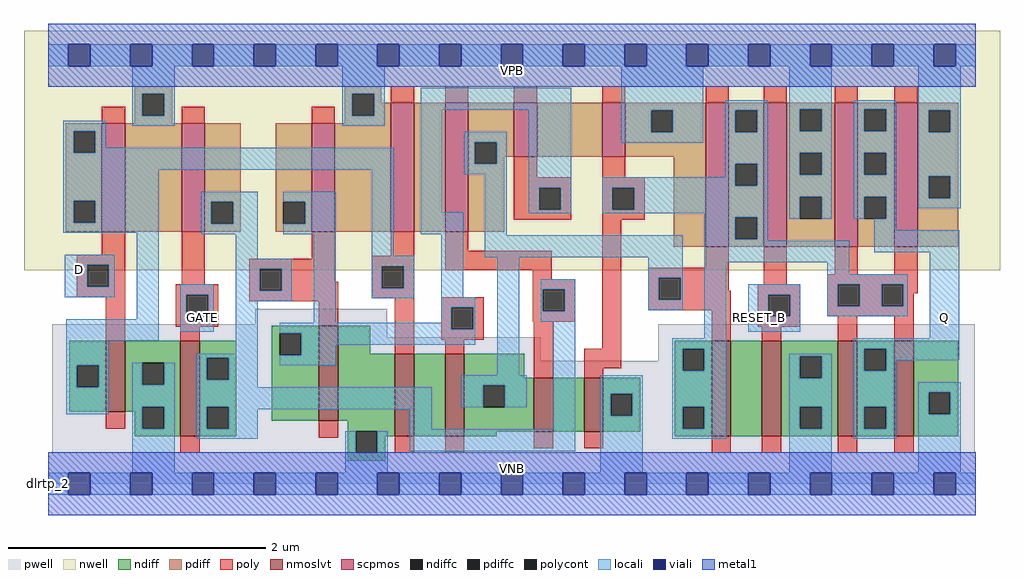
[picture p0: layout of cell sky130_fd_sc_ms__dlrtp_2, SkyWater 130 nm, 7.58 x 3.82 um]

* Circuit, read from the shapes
.subckt sky130_fd_sc_ms__dlrtp_2 D GATE RESET_B VGND VNB VPB VPWR Q
XM1 VGND D n1 VNB sky130_fd_pr__nfet_01v8_lvt w=0.55 l=0.15
XM2 n2 GATE VGND VNB sky130_fd_pr__nfet_01v8_lvt w=0.74 l=0.15
XM3 VGND n2 n3 VNB sky130_fd_pr__nfet_01v8_lvt w=0.74 l=0.15
XM4 n4 n1 VGND VNB sky130_fd_pr__nfet_01v8_lvt w=0.64 l=0.15
XM5 n5 n3 n4 VNB sky130_fd_pr__nfet_01v8_lvt w=0.64 l=0.15
XM6 n6 n2 n5 VNB sky130_fd_pr__nfet_01v8_lvt w=0.42 l=0.15
XM7 VGND n7 n6 VNB sky130_fd_pr__nfet_01v8_lvt w=0.42 l=0.15
XM8 n8 n5 n7 VNB sky130_fd_pr__nfet_01v8_lvt w=0.74 l=0.15
XM9 VGND RESET_B n8 VNB sky130_fd_pr__nfet_01v8_lvt w=0.74 l=0.15
XM10 Q n7 VGND VNB sky130_fd_pr__nfet_01v8_lvt w=0.74 l=0.15 m=2
XM11 VPWR D n1 VPB sky130_fd_pr__pfet_01v8 w=0.84 l=0.18
XM12 n2 GATE VPWR VPB sky130_fd_pr__pfet_01v8 w=0.84 l=0.18
XM13 VPWR n2 n3 VPB sky130_fd_pr__pfet_01v8 w=0.84 l=0.18
XM14 n9 n1 VPWR VPB sky130_fd_pr__pfet_01v8 w=1 l=0.18
XM15 n5 n2 n9 VPB sky130_fd_pr__pfet_01v8 w=1 l=0.18
XM16 n10 n3 n5 VPB sky130_fd_pr__pfet_01v8 w=0.42 l=0.18
XM17 VPWR n7 n10 VPB sky130_fd_pr__pfet_01v8 w=0.42 l=0.18
XM18 n7 n5 VPWR VPB sky130_fd_pr__pfet_01v8 w=1.12 l=0.18
XM19 VPWR RESET_B n7 VPB sky130_fd_pr__pfet_01v8 w=1.12 l=0.18
XM20 Q n7 VPWR VPB sky130_fd_pr__pfet_01v8 w=1.12 l=0.18 m=2
.ends

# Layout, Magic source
magic
tech sky130A
magscale 1 2
<< nwell >>
rect -38 332 1478 704
<< pwell >>
rect 321 248 526 272
rect 6 228 526 248
rect 6 191 765 228
rect 947 191 1439 248
rect 6 49 1439 191
rect 0 0 1440 49
<< scpmos >>
rect 83 392 119 560
rect 207 392 243 560
rect 409 392 445 560
rect 532 392 568 592
rect 616 392 652 592
rect 723 508 759 592
rect 860 508 896 592
rect 1021 368 1057 592
rect 1111 368 1147 592
rect 1221 368 1257 592
rect 1314 368 1350 592
<< nmoslvt >>
rect 89 112 119 222
rect 205 74 235 222
rect 420 98 450 246
rect 538 74 568 202
rect 616 74 646 202
rect 754 81 784 165
rect 832 81 862 165
rect 1030 74 1060 222
rect 1108 74 1138 222
rect 1226 74 1256 222
rect 1314 74 1344 222
<< ndiff >>
rect 347 234 420 246
rect 32 184 89 222
rect 32 150 44 184
rect 78 150 89 184
rect 32 112 89 150
rect 119 188 205 222
rect 119 154 146 188
rect 180 154 205 188
rect 119 120 205 154
rect 119 112 146 120
rect 134 86 146 112
rect 180 86 205 120
rect 134 74 205 86
rect 235 196 292 222
rect 235 162 246 196
rect 280 162 292 196
rect 235 120 292 162
rect 235 86 246 120
rect 280 86 292 120
rect 347 200 359 234
rect 393 200 420 234
rect 347 98 420 200
rect 450 202 500 246
rect 450 98 538 202
rect 235 74 292 86
rect 465 82 538 98
rect 465 48 477 82
rect 511 74 538 82
rect 568 74 616 202
rect 646 165 739 202
rect 973 210 1030 222
rect 973 176 985 210
rect 1019 176 1030 210
rect 646 153 754 165
rect 646 119 675 153
rect 709 119 754 153
rect 646 81 754 119
rect 784 81 832 165
rect 862 140 919 165
rect 862 106 873 140
rect 907 106 919 140
rect 862 81 919 106
rect 973 120 1030 176
rect 973 86 985 120
rect 1019 86 1030 120
rect 646 74 696 81
rect 511 48 523 74
rect 973 74 1030 86
rect 1060 74 1108 222
rect 1138 198 1226 222
rect 1138 164 1167 198
rect 1201 164 1226 198
rect 1138 120 1226 164
rect 1138 86 1167 120
rect 1201 86 1226 120
rect 1138 74 1226 86
rect 1256 210 1314 222
rect 1256 176 1267 210
rect 1301 176 1314 210
rect 1256 120 1314 176
rect 1256 86 1267 120
rect 1301 86 1314 120
rect 1256 74 1314 86
rect 1344 142 1413 222
rect 1344 108 1367 142
rect 1401 108 1413 142
rect 1344 74 1413 108
rect 465 36 523 48
<< pdiff >>
rect 134 606 192 618
rect 134 572 146 606
rect 180 572 192 606
rect 460 606 517 618
rect 134 560 192 572
rect 460 572 472 606
rect 506 592 517 606
rect 506 572 532 592
rect 460 560 532 572
rect 27 548 83 560
rect 27 514 39 548
rect 73 514 83 548
rect 27 440 83 514
rect 27 406 39 440
rect 73 406 83 440
rect 27 392 83 406
rect 119 392 207 560
rect 243 438 299 560
rect 243 404 253 438
rect 287 404 299 438
rect 243 392 299 404
rect 353 438 409 560
rect 353 404 365 438
rect 399 404 409 438
rect 353 392 409 404
rect 445 392 532 560
rect 568 392 616 592
rect 652 531 723 592
rect 652 497 662 531
rect 696 508 723 531
rect 759 508 860 592
rect 896 580 1021 592
rect 896 546 936 580
rect 970 546 1021 580
rect 896 508 1021 546
rect 696 497 708 508
rect 652 392 708 497
rect 971 368 1021 508
rect 1057 580 1111 592
rect 1057 546 1067 580
rect 1101 546 1111 580
rect 1057 497 1111 546
rect 1057 463 1067 497
rect 1101 463 1111 497
rect 1057 414 1111 463
rect 1057 380 1067 414
rect 1101 380 1111 414
rect 1057 368 1111 380
rect 1147 582 1221 592
rect 1147 548 1167 582
rect 1201 548 1221 582
rect 1147 514 1221 548
rect 1147 480 1167 514
rect 1201 480 1221 514
rect 1147 446 1221 480
rect 1147 412 1167 446
rect 1201 412 1221 446
rect 1147 368 1221 412
rect 1257 582 1314 592
rect 1257 548 1267 582
rect 1301 548 1314 582
rect 1257 514 1314 548
rect 1257 480 1267 514
rect 1301 480 1314 514
rect 1257 446 1314 480
rect 1257 412 1267 446
rect 1301 412 1314 446
rect 1257 368 1314 412
rect 1350 580 1413 592
rect 1350 546 1367 580
rect 1401 546 1413 580
rect 1350 478 1413 546
rect 1350 444 1367 478
rect 1401 444 1413 478
rect 1350 368 1413 444
<< ndiffc >>
rect 44 150 78 184
rect 146 154 180 188
rect 146 86 180 120
rect 246 162 280 196
rect 246 86 280 120
rect 359 200 393 234
rect 477 48 511 82
rect 985 176 1019 210
rect 675 119 709 153
rect 873 106 907 140
rect 985 86 1019 120
rect 1167 164 1201 198
rect 1167 86 1201 120
rect 1267 176 1301 210
rect 1267 86 1301 120
rect 1367 108 1401 142
<< pdiffc >>
rect 146 572 180 606
rect 472 572 506 606
rect 39 514 73 548
rect 39 406 73 440
rect 253 404 287 438
rect 365 404 399 438
rect 662 497 696 531
rect 936 546 970 580
rect 1067 546 1101 580
rect 1067 463 1101 497
rect 1067 380 1101 414
rect 1167 548 1201 582
rect 1167 480 1201 514
rect 1167 412 1201 446
rect 1267 548 1301 582
rect 1267 480 1301 514
rect 1267 412 1301 446
rect 1367 546 1401 580
rect 1367 444 1401 478
<< poly >>
rect 83 560 119 586
rect 207 560 243 586
rect 409 560 445 586
rect 532 592 568 618
rect 616 592 652 618
rect 723 592 759 618
rect 860 592 896 618
rect 1021 592 1057 618
rect 1111 592 1147 618
rect 1221 592 1257 618
rect 1314 592 1350 618
rect 723 476 759 508
rect 860 476 896 508
rect 723 460 812 476
rect 723 426 762 460
rect 796 426 812 460
rect 723 410 812 426
rect 860 460 926 476
rect 860 426 876 460
rect 910 426 926 460
rect 860 410 926 426
rect 83 356 119 392
rect 44 340 119 356
rect 44 306 60 340
rect 94 306 119 340
rect 207 310 243 392
rect 409 350 445 392
rect 532 354 568 392
rect 312 334 445 350
rect 44 290 119 306
rect 89 222 119 290
rect 198 294 264 310
rect 198 260 214 294
rect 248 260 264 294
rect 312 300 328 334
rect 362 314 445 334
rect 502 338 568 354
rect 362 300 450 314
rect 312 284 450 300
rect 502 304 518 338
rect 552 304 568 338
rect 616 362 652 392
rect 616 332 782 362
rect 502 288 568 304
rect 752 318 782 332
rect 752 302 818 318
rect 198 244 264 260
rect 420 246 450 284
rect 205 222 235 244
rect 89 86 119 112
rect 538 202 568 288
rect 610 274 676 290
rect 610 240 626 274
rect 660 240 676 274
rect 752 268 768 302
rect 802 268 818 302
rect 752 252 818 268
rect 610 224 676 240
rect 616 202 646 224
rect 205 48 235 74
rect 420 72 450 98
rect 754 165 784 252
rect 860 210 890 410
rect 1021 336 1057 368
rect 932 320 1057 336
rect 932 286 948 320
rect 982 300 1057 320
rect 1111 310 1147 368
rect 1221 326 1257 368
rect 1314 326 1350 368
rect 1210 310 1350 326
rect 982 286 1060 300
rect 932 270 1060 286
rect 1030 222 1060 270
rect 1102 294 1168 310
rect 1102 260 1118 294
rect 1152 260 1168 294
rect 1210 276 1226 310
rect 1260 276 1294 310
rect 1328 296 1350 310
rect 1328 276 1344 296
rect 1210 260 1344 276
rect 1102 244 1168 260
rect 1108 222 1138 244
rect 1226 222 1256 260
rect 1314 222 1344 260
rect 832 180 890 210
rect 832 165 862 180
rect 538 48 568 74
rect 616 48 646 74
rect 754 55 784 81
rect 832 55 862 81
rect 1030 48 1060 74
rect 1108 48 1138 74
rect 1226 48 1256 74
rect 1314 48 1344 74
<< polycont >>
rect 762 426 796 460
rect 876 426 910 460
rect 60 306 94 340
rect 214 260 248 294
rect 328 300 362 334
rect 518 304 552 338
rect 626 240 660 274
rect 768 268 802 302
rect 948 286 982 320
rect 1118 260 1152 294
rect 1226 276 1260 310
rect 1294 276 1328 310
<< locali >>
rect 0 649 31 683
rect 65 649 127 683
rect 161 649 223 683
rect 257 649 319 683
rect 353 649 415 683
rect 449 649 511 683
rect 545 649 607 683
rect 641 649 703 683
rect 737 649 799 683
rect 833 649 895 683
rect 929 649 991 683
rect 1025 649 1087 683
rect 1121 649 1183 683
rect 1217 649 1279 683
rect 1313 649 1375 683
rect 1409 649 1440 683
rect 130 606 196 649
rect 130 572 146 606
rect 180 572 196 606
rect 23 548 89 564
rect 130 556 196 572
rect 456 606 522 649
rect 456 572 472 606
rect 506 572 522 606
rect 456 556 522 572
rect 578 581 812 615
rect 23 514 39 548
rect 73 522 89 548
rect 73 514 536 522
rect 23 488 536 514
rect 23 440 171 488
rect 23 406 39 440
rect 73 406 171 440
rect 23 390 171 406
rect 25 340 103 356
rect 25 306 60 340
rect 94 306 103 340
rect 25 290 103 306
rect 137 256 171 390
rect 237 438 325 454
rect 237 404 253 438
rect 287 404 325 438
rect 237 388 325 404
rect 365 438 446 454
rect 399 404 446 438
rect 365 388 446 404
rect 291 350 325 388
rect 291 334 378 350
rect 28 222 171 256
rect 205 294 257 310
rect 205 260 214 294
rect 248 260 257 294
rect 205 236 257 260
rect 291 300 328 334
rect 362 300 378 334
rect 291 284 378 300
rect 28 184 94 222
rect 291 202 325 284
rect 412 250 446 388
rect 502 354 536 488
rect 578 422 612 581
rect 646 531 712 547
rect 646 497 662 531
rect 696 497 712 531
rect 646 481 712 497
rect 578 388 644 422
rect 502 338 568 354
rect 502 304 518 338
rect 552 304 568 338
rect 502 288 568 304
rect 610 290 644 388
rect 678 386 712 481
rect 746 460 812 581
rect 890 580 1017 649
rect 890 546 936 580
rect 970 546 1017 580
rect 890 530 1017 546
rect 1051 580 1117 596
rect 1051 546 1067 580
rect 1101 546 1117 580
rect 1051 497 1117 546
rect 1051 476 1067 497
rect 746 426 762 460
rect 796 426 812 460
rect 746 420 812 426
rect 860 463 1067 476
rect 1101 463 1117 497
rect 860 460 1117 463
rect 860 426 876 460
rect 910 426 1117 460
rect 860 420 1117 426
rect 1019 414 1117 420
rect 678 352 985 386
rect 610 274 663 290
rect 610 250 626 274
rect 230 196 325 202
rect 28 150 44 184
rect 78 150 94 184
rect 28 108 94 150
rect 130 154 146 188
rect 180 154 196 188
rect 130 120 196 154
rect 130 86 146 120
rect 180 86 196 120
rect 130 17 196 86
rect 230 162 246 196
rect 280 162 325 196
rect 359 240 626 250
rect 660 240 663 274
rect 359 234 663 240
rect 393 216 663 234
rect 393 200 446 216
rect 359 184 446 200
rect 697 169 731 352
rect 932 320 985 352
rect 765 302 818 318
rect 765 268 768 302
rect 802 268 818 302
rect 932 286 948 320
rect 982 286 985 320
rect 932 270 985 286
rect 1019 380 1067 414
rect 1101 380 1117 414
rect 1151 582 1217 649
rect 1151 548 1167 582
rect 1201 548 1217 582
rect 1151 514 1217 548
rect 1151 480 1167 514
rect 1201 480 1217 514
rect 1151 446 1217 480
rect 1151 412 1167 446
rect 1201 412 1217 446
rect 1251 582 1317 596
rect 1251 548 1267 582
rect 1301 548 1317 582
rect 1251 514 1317 548
rect 1251 480 1267 514
rect 1301 480 1317 514
rect 1251 446 1317 480
rect 1251 412 1267 446
rect 1301 412 1317 446
rect 1351 580 1417 649
rect 1351 546 1367 580
rect 1401 546 1417 580
rect 1351 478 1417 546
rect 1351 444 1367 478
rect 1401 444 1417 478
rect 1351 428 1417 444
rect 1019 378 1117 380
rect 1283 394 1317 412
rect 1019 344 1244 378
rect 1283 360 1415 394
rect 765 252 818 268
rect 230 150 325 162
rect 641 153 743 169
rect 230 120 595 150
rect 230 86 246 120
rect 280 116 595 120
rect 641 119 675 153
rect 709 119 743 153
rect 280 86 325 116
rect 230 70 325 86
rect 561 85 595 116
rect 784 85 818 252
rect 1019 226 1053 344
rect 1210 326 1244 344
rect 1210 310 1335 326
rect 1087 294 1168 310
rect 1087 260 1118 294
rect 1152 260 1168 294
rect 1210 276 1226 310
rect 1260 276 1294 310
rect 1328 276 1335 310
rect 1210 260 1335 276
rect 1087 236 1168 260
rect 1369 226 1415 360
rect 969 210 1053 226
rect 969 176 985 210
rect 1019 176 1053 210
rect 1251 210 1415 226
rect 461 48 477 82
rect 511 48 527 82
rect 561 51 818 85
rect 857 140 923 169
rect 857 106 873 140
rect 907 106 923 140
rect 461 17 527 48
rect 857 17 923 106
rect 969 120 1053 176
rect 969 86 985 120
rect 1019 86 1053 120
rect 969 70 1053 86
rect 1151 198 1217 202
rect 1151 164 1167 198
rect 1201 164 1217 198
rect 1151 120 1217 164
rect 1151 86 1167 120
rect 1201 86 1217 120
rect 1151 17 1217 86
rect 1251 176 1267 210
rect 1301 192 1415 210
rect 1301 176 1317 192
rect 1251 120 1317 176
rect 1251 86 1267 120
rect 1301 86 1317 120
rect 1251 70 1317 86
rect 1351 142 1417 158
rect 1351 108 1367 142
rect 1401 108 1417 142
rect 1351 17 1417 108
rect 0 -17 31 17
rect 65 -17 127 17
rect 161 -17 223 17
rect 257 -17 319 17
rect 353 -17 415 17
rect 449 -17 511 17
rect 545 -17 607 17
rect 641 -17 703 17
rect 737 -17 799 17
rect 833 -17 895 17
rect 929 -17 991 17
rect 1025 -17 1087 17
rect 1121 -17 1183 17
rect 1217 -17 1279 17
rect 1313 -17 1375 17
rect 1409 -17 1440 17
<< viali >>
rect 31 649 65 683
rect 127 649 161 683
rect 223 649 257 683
rect 319 649 353 683
rect 415 649 449 683
rect 511 649 545 683
rect 607 649 641 683
rect 703 649 737 683
rect 799 649 833 683
rect 895 649 929 683
rect 991 649 1025 683
rect 1087 649 1121 683
rect 1183 649 1217 683
rect 1279 649 1313 683
rect 1375 649 1409 683
rect 31 -17 65 17
rect 127 -17 161 17
rect 223 -17 257 17
rect 319 -17 353 17
rect 415 -17 449 17
rect 511 -17 545 17
rect 607 -17 641 17
rect 703 -17 737 17
rect 799 -17 833 17
rect 895 -17 929 17
rect 991 -17 1025 17
rect 1087 -17 1121 17
rect 1183 -17 1217 17
rect 1279 -17 1313 17
rect 1375 -17 1409 17
<< metal1 >>
rect 0 683 1440 715
rect 0 649 31 683
rect 65 649 127 683
rect 161 649 223 683
rect 257 649 319 683
rect 353 649 415 683
rect 449 649 511 683
rect 545 649 607 683
rect 641 649 703 683
rect 737 649 799 683
rect 833 649 895 683
rect 929 649 991 683
rect 1025 649 1087 683
rect 1121 649 1183 683
rect 1217 649 1279 683
rect 1313 649 1375 683
rect 1409 649 1440 683
rect 0 617 1440 649
rect 0 17 1440 49
rect 0 -17 31 17
rect 65 -17 127 17
rect 161 -17 223 17
rect 257 -17 319 17
rect 353 -17 415 17
rect 449 -17 511 17
rect 545 -17 607 17
rect 641 -17 703 17
rect 737 -17 799 17
rect 833 -17 895 17
rect 929 -17 991 17
rect 1025 -17 1087 17
rect 1121 -17 1183 17
rect 1217 -17 1279 17
rect 1313 -17 1375 17
rect 1409 -17 1440 17
rect 0 -49 1440 -17
<< labels >>
flabel pwell s 0 0 1440 49 0 FreeSans 200 0 0 0 VNB
port 5 nsew ground bidirectional
flabel nwell s 0 617 1440 666 0 FreeSans 200 0 0 0 VPB
port 6 nsew power bidirectional
rlabel comment s 0 0 0 0 4 dlrtp_2
flabel metal1 s 0 617 1440 666 0 FreeSans 340 0 0 0 VPWR
port 7 nsew power bidirectional
flabel metal1 s 0 0 1440 49 0 FreeSans 340 0 0 0 VGND
port 4 nsew ground bidirectional
flabel locali s 31 316 65 350 0 FreeSans 340 0 0 0 D
port 1 nsew signal input
flabel locali s 223 242 257 276 0 FreeSans 340 0 0 0 GATE
port 2 nsew clock input
flabel locali s 1087 242 1121 276 0 FreeSans 340 0 0 0 RESET_B
port 3 nsew signal input
flabel locali s 1375 242 1409 276 0 FreeSans 340 0 0 0 Q
port 8 nsew signal output
<< properties >>
string LEFsite unit
string LEFclass CORE
string FIXED_BBOX 0 0 1440 666
string GDS_FILE $PDKPATH/libs.ref/sky130_fd_sc_ms/gds/sky130_fd_sc_ms.gds
string LEFsymmetry X Y
string GDS_END 977110
string GDS_START 966440
<< end >>
